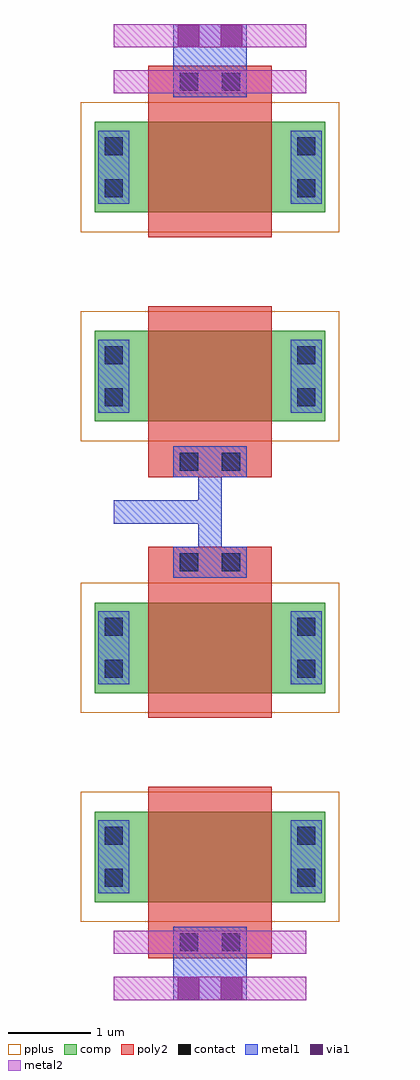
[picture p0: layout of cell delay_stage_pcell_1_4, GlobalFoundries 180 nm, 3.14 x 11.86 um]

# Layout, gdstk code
import gdstk
lib = gdstk.Library(unit=1e-6, precision=5e-09)
def R(c, l, rs):  # rectangles x0, y0, x1, y1
    for r in rs: c.add(gdstk.rectangle(r[:2], r[2:], *l))
comp = (22, 0)
poly2 = (30, 0)
pplus = (31, 0)
contact = (33, 0)
metal1 = (34, 0)
via1 = (35, 0)
metal2 = (36, 0)

delay_stage_pcell_1_1 = lib.new_cell('delay_stage_pcell_1$1')
R(delay_stage_pcell_1_1, comp, [(0.17,0.3,0.63,1.4), (0.63,0.3,2.51,1.4), (2.51,0.3,2.97,1.4)])
R(delay_stage_pcell_1_1, poly2, [(0.82,0,2.32,1.7)])
R(delay_stage_pcell_1_1, pplus, [(0,0.06,3.14,1.64)])
R(delay_stage_pcell_1_1, contact, [(0.29,0.485,0.51,0.705), (2.63,0.485,2.85,0.705), (0.29,0.995,0.51,1.215), (2.63,0.995,2.85,1.215)])
R(delay_stage_pcell_1_1, metal1, [(0.21,0.405,0.59,1.295), (2.55,0.405,2.93,1.295)])

delay_stage_pcell_1_4 = lib.new_cell('delay_stage_pcell_1_4')
R(delay_stage_pcell_1_4, poly2, [(0.82,0.51,2.32,0.89), (0.82,0.51,2.32,0.89), (0.82,5.13,2.32,5.51), (0.82,5.13,2.32,5.51), (0.82,6.35,2.32,6.73), (0.82,6.35,2.32,6.73), (0.82,10.97,2.32,11.35), (0.82,10.97,2.32,11.35)])
R(delay_stage_pcell_1_4, contact, [(1.205,0.59,1.425,0.81), (1.205,0.59,1.425,0.81), (1.715,0.59,1.935,0.81), (1.715,0.59,1.935,0.81), (1.205,5.21,1.425,5.43), (1.205,5.21,1.425,5.43), (1.715,5.21,1.935,5.43), (1.715,5.21,1.935,5.43), (1.205,6.43,1.425,6.65), (1.205,6.43,1.425,6.65), (1.715,6.43,1.935,6.65), (1.715,6.43,1.935,6.65), (1.205,11.05,1.425,11.27), (1.205,11.05,1.425,11.27), (1.715,11.05,1.935,11.27), (1.715,11.05,1.935,11.27)])
R(delay_stage_pcell_1_4, metal1, [(1.125,0,2.015,0.89), (1.125,0,2.015,0.89), (1.125,5.13,2.015,5.51), (1.125,6.35,2.015,6.73), (1.125,6.35,2.015,6.73), (1.125,10.97,2.015,11.86), (1.125,10.97,2.015,11.86)])
R(delay_stage_pcell_1_4, via1, [(1.18,0.01,1.44,0.27), (1.18,0.01,1.44,0.27), (1.7,0.01,1.96,0.27), (1.7,0.01,1.96,0.27), (1.18,11.59,1.44,11.85), (1.18,11.59,1.44,11.85), (1.7,11.59,1.96,11.85), (1.7,11.59,1.96,11.85)])
delay_stage_pcell_1_4.add(gdstk.FlexPath([(0.4,5.93),(1.71,5.93)], 0.28, ends="flush", simple_path=True, layer=34, datatype=0))  # metal1
delay_stage_pcell_1_4.add(gdstk.FlexPath([(1.57,5.51),(1.57,5.79)], 0.28, ends="flush", simple_path=True, layer=34, datatype=0))  # metal1
delay_stage_pcell_1_4.add(gdstk.FlexPath([(1.57,6.35),(1.57,6.07)], 0.28, ends="flush", simple_path=True, layer=34, datatype=0))  # metal1
delay_stage_pcell_1_4.add(gdstk.FlexPath([(1.12,0.14),(2.74,0.14)], 0.28, ends="flush", simple_path=True, layer=36, datatype=0))  # metal2
delay_stage_pcell_1_4.add(gdstk.FlexPath([(0.4,0.14),(2.74,0.14)], 0.28, ends="flush", simple_path=True, layer=36, datatype=0))  # metal2
delay_stage_pcell_1_4.add(gdstk.FlexPath([(1.125,0.7),(2.74,0.7)], 0.28, ends="flush", simple_path=True, layer=36, datatype=0))  # metal2
delay_stage_pcell_1_4.add(gdstk.FlexPath([(0.4,0.7),(2.74,0.7)], 0.28, ends="flush", simple_path=True, layer=36, datatype=0))  # metal2
delay_stage_pcell_1_4.add(gdstk.FlexPath([(1.125,11.16),(2.74,11.16)], 0.28, ends="flush", simple_path=True, layer=36, datatype=0))  # metal2
delay_stage_pcell_1_4.add(gdstk.FlexPath([(1.12,11.72),(2.74,11.72)], 0.28, ends="flush", simple_path=True, layer=36, datatype=0))  # metal2
delay_stage_pcell_1_4.add(gdstk.FlexPath([(0.4,11.72),(2.74,11.72)], 0.28, ends="flush", simple_path=True, layer=36, datatype=0))  # metal2
delay_stage_pcell_1_4.add(gdstk.FlexPath([(0.4,11.16),(2.74,11.16)], 0.28, ends="flush", simple_path=True, layer=36, datatype=0))  # metal2
delay_stage_pcell_1_4.add(gdstk.Reference(delay_stage_pcell_1_1, (0,2.59), x_reflection=True))
delay_stage_pcell_1_4.add(gdstk.Reference(delay_stage_pcell_1_1, (0,8.43), x_reflection=True))
delay_stage_pcell_1_4.add(gdstk.Reference(delay_stage_pcell_1_1, (0,9.27)))
delay_stage_pcell_1_4.add(gdstk.Reference(delay_stage_pcell_1_1, (0,3.43)))

lib.write_gds('delay_stage_pcell_1_4.gds')
